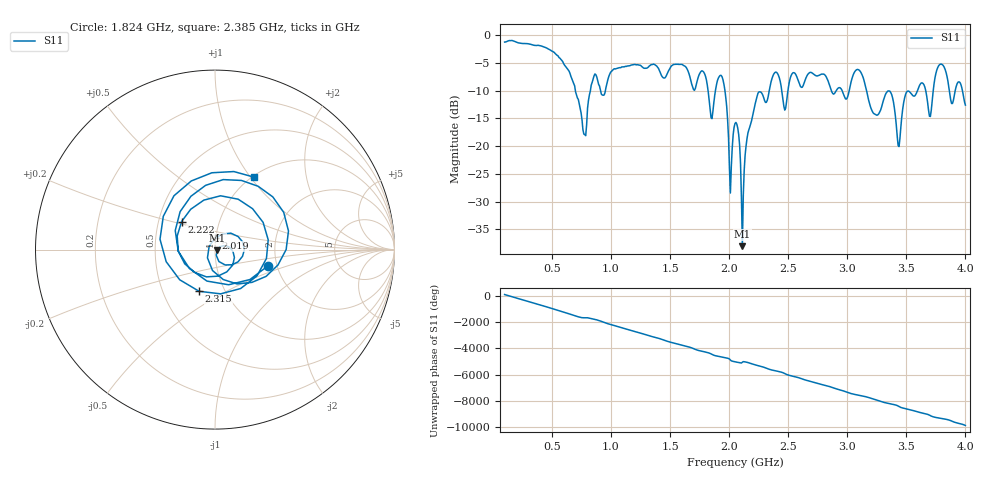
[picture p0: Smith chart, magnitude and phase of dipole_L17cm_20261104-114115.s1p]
! Dipole length 17 cm, measured 20261104-114115
# GHZ S RI R 50.000000000000
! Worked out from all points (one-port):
!   501 points, 100 MHz to 4 GHz, reference 50 ohm
!   lowest |S11| = -38.1 dB at 2.112 GHz (marker M1), VSWR 1.03, Z = 51.2 - j0.363 ohm
!   |S11| at or under -10 dB: 699.2 MHz to 825.9 MHz (126.6 MHz wide, 16.6 % of centre); 1.965 GHz to 2.34 GHz (374.7 MHz wide, 17.4 % of centre); 3.164 GHz to 3.594 GHz (430.4 MHz wide, 12.7 % of centre)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
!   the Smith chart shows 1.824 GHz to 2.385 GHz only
!   S11 on the Smith chart (normalised r, x): 1.824 GHz: 1.78, -0.36; 2.019 GHz: 1.00, +0.13; 2.222 GHz: 0.66, +0.22; 2.315 GHz: 0.76, -0.38; 2.385 GHz: 1.02, +1.05
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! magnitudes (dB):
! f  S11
! 100 MHz  -1.2
! 591.4 MHz  -4.7
! 778.6 MHz  -17.9
! 856.6 MHz  -7.3
! 934.6 MHz  -10.8
! 1.075 GHz  -5.8
! 1.566 GHz  -5.2
! 1.824 GHz  -10.3
! 1.855 GHz  -15.0
! 1.941 GHz  -7.5
! 2.019 GHz  -23.7
! 2.058 GHz  -15.7
! 2.112 GHz  -38.1
! 2.151 GHz  -18.7
! 2.222 GHz  -12.3
! 2.315 GHz  -12.1
! 2.385 GHz  -6.8
! 2.471 GHz  -13.5
! 2.541 GHz  -6.7
! 3.025 GHz  -9.1
! 3.103 GHz  -6.3
! 3.243 GHz  -14.4
! 3.36 GHz  -10.1
! 3.438 GHz  -20.1
! 3.516 GHz  -10.0
! 3.704 GHz  -14.6
! 3.797 GHz  -5.2
! 4 GHz  -12.6
